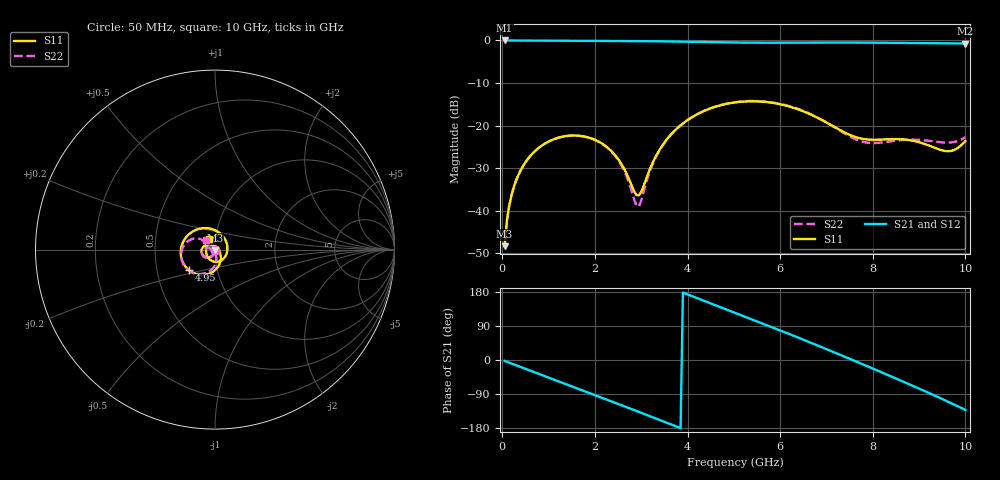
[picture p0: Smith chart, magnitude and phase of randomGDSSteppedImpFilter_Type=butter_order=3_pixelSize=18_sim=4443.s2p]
! freq	dB(S11)	phase(S11)	dB(S12)	phase(S12)
!  dB(S21)	phase(S21)	dB(S22)	phase(S22)
!S-par simulation data
#  GHz  S  DB  R 50
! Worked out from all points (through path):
!   200 points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, 50 MHz to 10 GHz, reference 50 ohm
!   highest |S21| = 0.00 dB at 50 MHz (marker M1); lowest = -0.7 dB at 10 GHz (marker M2)
!   group delay of S21, straight-line fit = 135 ps
!   lowest |S11| = -48.3 dB at 50 MHz (marker M3), VSWR 1.01, Z = 50 - j0.385 ohm
!   |S11| at or under -10 dB: start of sweep to end of sweep
!   |S22| runs from -48.3 to -14.2 dB; largest |S21 - S12| = 0
!   S11 on the Smith chart (normalised r, x): 50 MHz: 1.00, -0.01; 4.95 GHz: 0.73, -0.17; 10 GHz: 0.93, +0.11
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0.05  -48.30 -91.6  -0.00 -2.4  -0.00 -2.4  -48.29 -91.4
0.1  -42.28 -94.4  -0.01 -4.7  -0.01 -4.7  -42.28 -94.0
0.2  -36.29 -99.5  -0.02 -9.4  -0.02 -9.4  -36.29 -98.6
0.5  -28.61 -114.5  -0.03 -23.3  -0.03 -23.3  -28.60 -112.4
1.05  -23.47 -142.1  -0.07 -48.7  -0.07 -48.7  -23.48 -137.2
1.75  -22.51 -178.0  -0.11 -81.0  -0.11 -81.0  -22.54 -167.3
2.45  -27.11 138.8  -0.14 -113.5  -0.14 -113.5  -27.31 168.4
2.95  -36.36 35.6  -0.16 -137.0  -0.16 -137.0  -38.97 -127.5
3.2  -29.88 -30.5  -0.18 -148.8  -0.18 -148.8  -30.32 -81.0
3.4  -25.60 -51.7  -0.21 -158.3  -0.21 -158.3  -25.73 -81.1
4.15  -17.68 -99.1  -0.33 166.0  -0.33 166.0  -17.66 -107.3
4.95  -14.67 -141.7  -0.48 128.2  -0.48 128.2  -14.62 -140.7
5.05  -14.51 -146.9  -0.49 123.4  -0.49 123.4  -14.46 -144.8
5.9  -14.77 166.5  -0.54 82.9  -0.54 82.9  -14.67 -179.4
6.7  -17.59 114.8  -0.50 43.7  -0.50 43.7  -17.49 152.8
7.15  -20.18 77.1  -0.49 21.1  -0.49 21.1  -20.23 143.8
7.55  -22.38 34.4  -0.50 0.7  -0.50 0.7  -22.80 144.9
8.35  -23.18 -54.9  -0.55 -40.8  -0.55 -40.8  -23.74 156.0
8.8  -23.42 -94.6  -0.59 -64.7  -0.59 -64.7  -23.30 148.5
9.2  -24.62 -130.7  -0.63 -86.3  -0.63 -86.3  -23.55 138.2
9.65  -26.00 172.6  -0.68 -111.4  -0.68 -111.4  -23.97 131.8
10  -23.61 120.4  -0.73 -131.8  -0.73 -131.8  -22.71 132.8
